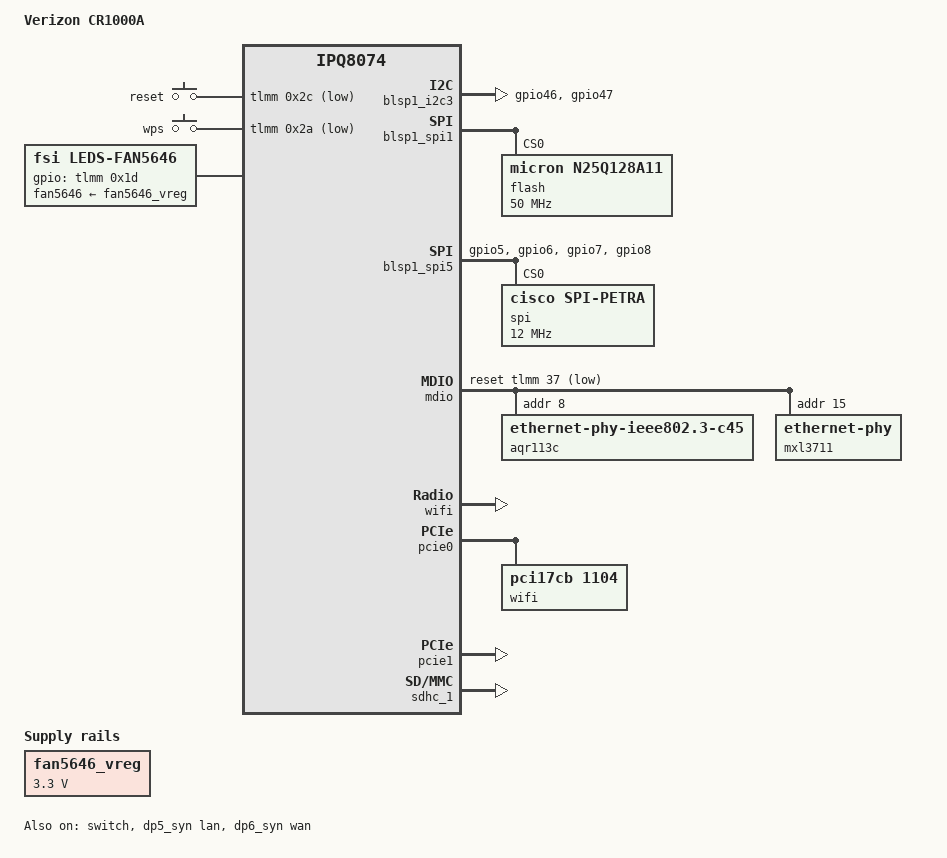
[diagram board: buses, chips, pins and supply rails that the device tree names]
// SPDX-License-Identifier: GPL-2.0-or-later OR MIT

/dts-v1/;

#include "ipq8074.dtsi"
#include "ipq8074-ess.dtsi"
#include "ipq8074-nss.dtsi"
#include "ipq8074-common.dtsi"
#include "ipq8074-hk-cpu.dtsi"

#include <dt-bindings/gpio/gpio.h>
#include <dt-bindings/input/input.h>
#include <dt-bindings/leds/common.h>

/ {
	model = "Verizon CR1000A";
	compatible = "verizon,cr1000a", "qcom,ipq8074";

	aliases {
		serial0 = &blsp1_uart5;

		ethernet4 = &dp5;
		ethernet5 = &dp6;
		label-mac-device = &dp5_syn;
	};

	chosen {
		stdout-path = "serial0:115200n8";
	};

	keys {
		compatible = "gpio-keys";

		reset {
			debounce-interval = <0x3c>;
			gpios = <&tlmm 0x2c GPIO_ACTIVE_LOW>;
			label = "reset";
			linux,code = <KEY_RESTART>;
		};

		wps {
			debounce-interval = <0x3c>;
			gpios = <&tlmm 0x2a GPIO_ACTIVE_LOW>;
			label = "wps";
			linux,code = <KEY_WPS_BUTTON>;
		};
	};
};

&soc {
	fan5646_vreg: dummy_reg {
		compatible = "regulator-fixed";
		regulator-name = "fan5646_vreg";
		regulator-min-microvolt = <3300000>;
		regulator-max-microvolt = <3300000>;
	};

	fan5646 {
		status = "okay";
		compatible = "fsi,leds-fan5646";
		linux-name = "white";
		rgb-name = "rgb";
		gpios = <&tlmm 0x1d 0x2>; /* COMM GPIO, GPIOF_DIR_OUT | GPIOF_INIT_HIGH */
		full-current = <0>; /* Default current 5 mA */
		tsleep = <7>;
		fan5646-supply = <&fan5646_vreg>; /* phandle of our regulator node */
	};
};

&blsp1_i2c3 {
	status = "okay";
	pinctrl-0 = <&i2c_2_pins>;
	pinctrl-names = "default";
};

&blsp1_spi1 {
	status = "okay";

	flash@0 {
		compatible = "micron,n25q128a11", "jedec,spi-nor";
		linux,modalias = "m25p80", "mx30uf2g18ac", "n25q128a11";
		spi-max-frequency = <50000000>;
		reg = <0>;
	};
};

&blsp1_spi5 {
	status = "okay";

	pinctrl-0 = <&spi_4_pins>;
	pinctrl-names = "default";

	spi@4 {
		// compatible = "qca,spidev";
		compatible = "cisco,spi-petra";
		reg = <0x00>;
		spi-max-frequency = <12000000>;
	};
};

&tlmm {
	i2c_2_pins: i2c-2-pins {
		pins = "gpio46", "gpio47";
		function = "blsp2_i2c";
		drive-strength = <8>;
		bias-disable;
	};

	spi_4_pins: spi-4-pins {
		pins = "gpio5", "gpio6", "gpio7", "gpio8";
		function = "blsp4_spi0";
		drive-strength = <8>;
		bias-disable;
	};
};

&mdio {
	status = "okay";

	pinctrl-0 = <&mdio_pins>;
	pinctrl-names = "default";
	reset-gpios = <&tlmm 37 GPIO_ACTIVE_LOW>;

	aqr113c: ethernet-phy@8 {
		compatible = "ethernet-phy-ieee802.3-c45";
		reg = <0x08>;
		// reset-gpios = <&tlmm 63 GPIO_ACTIVE_LOW>;
	};

	mxl3711: ethernet-phy@f {
		//compatible = "ethernet-phy-ieee802.3-c45";
		reg = <0x0f>;
		// reset-gpios = <&tlmm 63 GPIO_ACTIVE_LOW>;
	};
};

&switch {
	status = "okay";

	switch_lan_bmp = <ESS_PORT5>;
	switch_wan_bmp = <ESS_PORT6>;
	switch_mac_mode = <MAC_MODE_PSGMII>;
	switch_mac_mode1 = <MAC_MODE_10GBASE_R>;
	switch_mac_mode2 = <MAC_MODE_USXGMII>;

	qcom,port_phyinfo {
		rtl9303:port@5 {
			port_id = <5>;
			phy_address = <0x4>;
		};

		port@6 {
			port_id = <6>;
			phy_address = <0x8>;
			ethernet-phy-ieee802.3-c45;
		};
	};
};

&wifi {
	status = "okay";
	qcom,ath11k-fw-memory-mode = <1>;
	qcom,ath11k-calibration-variant = "Verizon-CR1000A";
};

&dp5_syn {
	status = "okay";
	phy-handle = <&rtl9303>;
	label = "lan";
};

&dp6_syn {
	status = "okay";
	phy-handle = <&aqr113c>;
	label = "wan";
};

&pcie0 {
	status = "okay";
	perst-gpios = <&tlmm 58 GPIO_ACTIVE_LOW>;

	pcie@0 {
		wifi@0,0 {
			status = "okay";
			compatible = "pci17cb,1104";
			qcom,ath11k-fw-memory-mode = <1>;
			qcom,ath11k-calibration-variant = "Verizon-CR1000A";
			reg = <0x00010000 0 0 0 0>;
		};
	};
};

&edma {
	status = "okay";
};

&pcie1 {
	status = "okay";
};

&sdhc_1 {
	status = "okay";

	vqmmc-supply = <&l11>;
};
